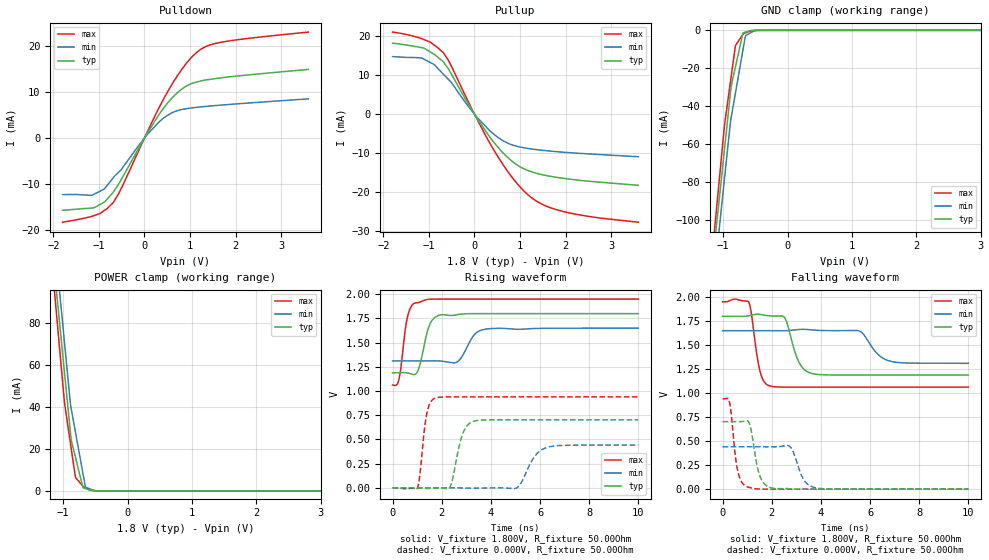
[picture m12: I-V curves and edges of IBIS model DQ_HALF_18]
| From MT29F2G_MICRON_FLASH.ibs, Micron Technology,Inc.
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|   MODEL DQ_HALF_18
[Model]   DQ_HALF_18
Model_type   I/O
Vinl = 360.000mV
Vinh = 1.44V
Vmeas = 900.000mV
Cref = 30.000pF
|   typ   min   max
C_comp   3.52pF   3.07pF   4.00pF
[Model Spec]
| Input threshold voltage corners
Vinl   0.36V   0.33V   0.39V
Vinh   1.44V   1.320V   1.560V
| Measurement voltage corners
Vmeas   0.9V   0.825V   0.975V
[Voltage Range]   1.80V   1.650V   1.950V
| Junction Temperature (Ambient temp is 25C typ, 70C min, 0C max)
[Temperature Range]   40   85   0
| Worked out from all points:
|   slope of the pulldown table from 0 to 0.27 V, typ, clamps not added: 62.5 ohm
|   slope of the pullup table from 0 to 0.27 V, typ, clamps not added: 56.8 ohm
|   GND clamp passes 1 mA (typ) near -0.66 V on its own axis
|   POWER clamp passes 1 mA (typ) near -0.65 V on its own axis
|   falling waveform, V_fixture 1.800V, R_fixture 50.00Ohm: 20-80 % time 451ps typ, 616ps min, 309ps max; typ from 1.8 V to 1.19 V
|   rising waveform, V_fixture 1.800V, R_fixture 50.00Ohm: 20-80 % time 345ps typ, 451ps min, 277ps max; typ from 1.19 V to 1.8 V
|   rising waveform, V_fixture 0.000V, R_fixture 50.00Ohm: 20-80 % time 377ps typ, 570ps min, 248ps max; typ from 0 V to 0.703 V
|   falling waveform, V_fixture 0.000V, R_fixture 50.00Ohm: 20-80 % time 314ps typ, 400ps min, 256ps max; typ from 0.703 V to 0 V
[Pulldown]
|   Voltage   I(typ)   I(min)   I(max)
-1.8V     -15.7mA    -12.3mA    -18.28mA
-1.16V    -15.21mA   -12.47mA   -17.01mA
-890mV    -13.98mA   -11.11mA   -15.79mA
-680mV    -11.68mA   -8.594mA   -13.93mA
-480mV    -8.502mA   -6.47mA    -10.34mA
50mV      860.8uA    615.8uA    1.02mA
420mV     6.457mA    4.296mA    8.432mA
800mV     10.44mA    6.106mA    14.59mA
1.18V     12.21mA    6.663mA    18.81mA
1.46V     12.73mA    6.929mA    20.22mA
1.8V      13.17mA    7.206mA    20.94mA
3.6V      14.85mA    8.471mA    22.95mA
[GND Clamp]
|   Voltage   I(typ)   I(min)   I(max)
-1.8V     -368.6mA   -374.1mA   -367.8mA
-1.13V    -112mA     -126.9mA   -103.7mA
-1.12V    -108.3mA   -123.7mA   -100.1mA
-1.11V    -104.8mA   -120.5mA   -96.56mA
-1.07V    -91.97mA   -107.6mA   -82.31mA
-980mV    -63.01mA   -78.49mA   -50.25mA
-880mV    -30.85mA   -46.88mA   -25.51mA
-810mV    -19.39mA   -33.24mA   -8.284mA
-690mV    -1.327mA   -9.851mA   -2.032mA
-650mV    -903.8uA   -2.735mA   -1.274mA
-500mV    -34.09uA   -53.27uA   -100.2uA
3.6V      0A         0A         0A
[Pullup]
|   Voltage   I(typ)   I(min)   I(max)
-1.8V     18.26mA    14.82mA    21.11mA
-1.16V    17.12mA    14.47mA    19.43mA
-890mV    15.45mA    12.8mA     17.82mA
-680mV    13.39mA    10.24mA    15.75mA
-560mV    11.44mA    8.805mA    13.55mA
50mV      -935.6uA   -698.9uA   -1.095mA
420mV     -7.108mA   -5.067mA   -9.079mA
810mV     -11.9mA    -7.784mA   -15.95mA
1.24V     -14.71mA   -8.883mA   -21.29mA
1.55V     -15.66mA   -9.316mA   -23.45mA
2.04V     -16.58mA   -9.816mA   -25.21mA
3.6V      -18.23mA   -10.9mA    -27.71mA
[POWER Clamp]
|   Voltage   I(typ)   I(min)   I(max)
-1.8V     352.8mA    360.4mA    347.7mA
-1.14V    107.2mA    121.5mA    96.58mA
-1.12V    100.1mA    115.1mA    89.78mA
-1.09V    90.52mA    105.6mA    79.57mA
-1.07V    84.34mA    99.31mA    72.76mA
-980mV    56.53mA    70.8mA     42.13mA
-880mV    25.63mA    39.93mA    21.21mA
-810mV    16.14mA    28.12mA    6.68mA
-690mV    1.51mA     7.892mA    2.172mA
-650mV    1.056mA    1.752mA    1.474mA
-500mV    74.15uA    37.31uA    136.8uA
3.6V      0A         0A         0A
[Ramp]
R_load = 50.00Ohm
|   typ   min   max
dV/dt_r   421.457mV/376.670ps 264.359mV/570.229ps 563.139mV/247.084ps
dV/dt_f   366.325mV/450.842ps 203.079mV/615.167ps 532.415mV/309.045ps
[Falling Waveform]
V_fixture = 1.800V
V_fixture_min = 1.650V
V_fixture_max = 1.950V
R_fixture = 50.00Ohm
|   Time   V(typ)   V(min)   V(max)
0s        1.799V     1.649V     1.949V
1.07ns    1.804V     1.649V     1.943V
1.51ns    1.819V     1.649V     1.242V
1.9ns     1.804V     1.649V     1.076V
2.52ns    1.786V     1.648V     1.062V
3.12ns    1.316V     1.661V     1.062V
3.63ns    1.204V     1.657V     1.062V
5.57ns    1.188V     1.645V     1.062V
6.93ns    1.188V     1.326V     1.062V
10ns      1.188V     1.31V      1.062V
[Rising Waveform]
V_fixture = 1.800V
V_fixture_min = 1.650V
V_fixture_max = 1.950V
R_fixture = 50.00Ohm
|   Time   V(typ)   V(min)   V(max)
0s        1.188V     1.31V      1.062V
250ps     1.189V     1.31V      1.111V
590ps     1.186V     1.31V      1.745V
900ps     1.17V      1.31V      1.907V
1.49ns    1.673V     1.311V     1.947V
1.92ns    1.784V     1.31V      1.949V
2.64ns    1.789V     1.302V     1.949V
3.33ns    1.799V     1.582V     1.949V
3.83ns    1.799V     1.64V      1.949V
10ns      1.799V     1.649V     1.949V
[Rising Waveform]
V_fixture = 0.000V
V_fixture_min = 0.000V
V_fixture_max = 0.000V
R_fixture = 50.00Ohm
|   Time   V(typ)   V(min)   V(max)
0s        426.2uV    838.1uV    653.8uV
1.01ns    -1.082mV   841uV      -2.523mV
1.39ns    -6.022mV   816.6uV    762.9mV
1.73ns    -2.496mV   856uV      926.2mV
2.34ns    10.51mV    1.004mV    939.1mV
2.83ns    540.7mV    -1.084mV   939.2mV
3.29ns    686.5mV    -3.214mV   939.2mV
5.05ns    702.9mV    -254.8uV   939.2mV
6.38ns    702.9mV    424.1mV    939.2mV
10ns      702.9mV    441.4mV    939.2mV
[Falling Waveform]
V_fixture = 0.000V
V_fixture_min = 0.000V
V_fixture_max = 0.000V
R_fixture = 50.00Ohm
|   Time   V(typ)   V(min)   V(max)
0s        702.9mV    441.4mV    939.2mV
280ps     702.9mV    441.4mV    906.7mV
600ps     702.2mV    441.4mV    212.9mV
990ps     712.9mV    441.5mV    26.1mV
1.51ns    143.5mV    441.4mV    1.768mV
1.98ns    13.97mV    440.6mV    704.9uV
2.73ns    4.81mV     446.4mV    653.8uV
3.28ns    722.4uV    107.6mV    653.8uV
3.75ns    453uV      16.49mV    653.8uV
10ns      426.2uV    838.1uV    653.8uV
